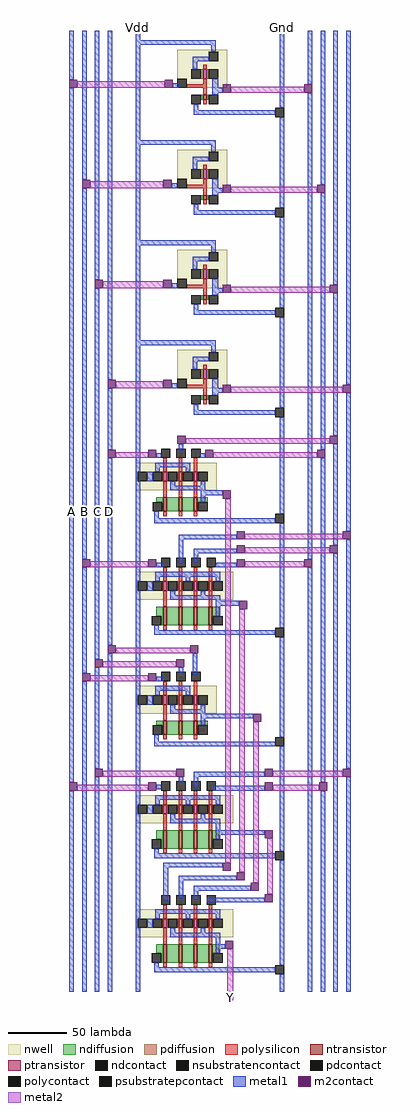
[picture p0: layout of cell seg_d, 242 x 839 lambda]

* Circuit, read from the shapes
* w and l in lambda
.subckt seg_d A B C D Gnd Vdd Y
M1 n1 n2 Gnd Gnd nfet w=16 l=3
M2 n3 A Gnd Gnd nfet w=16 l=3
M3 n4 B Gnd Gnd nfet w=12 l=3
M4 n5 B Gnd Gnd nfet w=16 l=3
M5 n6 D Gnd Gnd nfet w=12 l=3
M6 n7 n8 n1 Gnd nfet w=16 l=3
M7 n9 C n3 Gnd nfet w=16 l=3
M8 n10 C n4 Gnd nfet w=12 l=3
M9 n11 n12 n5 Gnd nfet w=16 l=3
M10 n13 n14 n6 Gnd nfet w=12 l=3
M11 n15 n16 n7 Gnd nfet w=16 l=3
M12 n17 n12 n9 Gnd nfet w=16 l=3
M13 n16 D n10 Gnd nfet w=12 l=3
M14 n18 n14 n11 Gnd nfet w=16 l=3
M15 n2 n19 n13 Gnd nfet w=12 l=3
M16 n12 D Gnd Gnd nfet w=4 l=3
M17 n14 C Gnd Gnd nfet w=4 l=3
M18 n19 B Gnd Gnd nfet w=4 l=3
M19 n20 A Gnd Gnd nfet w=4 l=3
M20 Y n21 n15 Gnd nfet w=16 l=3
M21 n21 n19 n17 Gnd nfet w=16 l=3
M22 n8 n20 n18 Gnd nfet w=16 l=3
M23 Y n2 Vdd Vdd pfet w=8 l=3
M24 n21 A Vdd Vdd pfet w=8 l=3
M25 n16 B Vdd Vdd pfet w=8 l=3
M26 n8 B Vdd Vdd pfet w=8 l=3
M27 n2 D Vdd Vdd pfet w=8 l=3
M28 Vdd n8 Y Vdd pfet w=8 l=3
M29 Vdd C n21 Vdd pfet w=8 l=3
M30 Vdd C n16 Vdd pfet w=8 l=3
M31 Vdd n12 n8 Vdd pfet w=8 l=3
M32 Vdd n14 n2 Vdd pfet w=8 l=3
M33 Y n16 Vdd Vdd pfet w=8 l=3
M34 n21 n12 Vdd Vdd pfet w=8 l=3
M35 n16 D Vdd Vdd pfet w=8 l=3
M36 n8 n14 Vdd Vdd pfet w=8 l=3
M37 n2 n19 Vdd Vdd pfet w=8 l=3
M38 n12 D Vdd Vdd pfet w=8 l=3
M39 n14 C Vdd Vdd pfet w=8 l=3
M40 n19 B Vdd Vdd pfet w=8 l=3
M41 n20 A Vdd Vdd pfet w=8 l=3
M42 Vdd n21 Y Vdd pfet w=8 l=3
M43 Vdd n19 n21 Vdd pfet w=8 l=3
M44 Vdd n20 n8 Vdd pfet w=8 l=3
.ends

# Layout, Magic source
magic
tech tsmc
<< metal1 >>
rect 0 86 4 92
rect 124 86 128 92
rect -57 44 -53 86
rect -57 -560 -53 37
rect -46 -42 -42 86
rect -46 -368 -42 -49
rect -35 -128 -31 86
rect -46 -466 -42 -375
rect -35 -454 -31 -135
rect -24 -214 -20 86
rect 32 37 37 41
rect 148 40 152 86
rect 68 33 75 37
rect 31 -49 36 -45
rect 66 -53 75 -49
rect 31 -135 36 -131
rect 66 -139 75 -135
rect 31 -221 36 -217
rect -24 -274 -20 -221
rect 66 -225 75 -221
rect 37 -275 41 -269
rect 18 -281 22 -277
rect 55 -281 60 -277
rect -24 -442 -20 -281
rect 59 -313 75 -309
rect 37 -351 87 -347
rect 18 -375 24 -371
rect 37 -372 41 -351
rect 50 -363 87 -359
rect 50 -371 54 -363
rect 148 -368 152 33
rect 159 -46 163 86
rect 159 -274 163 -53
rect 170 -132 174 86
rect 170 -262 174 -139
rect 181 -218 185 86
rect 69 -375 87 -371
rect 72 -408 89 -404
rect -57 -740 -53 -567
rect -46 -740 -42 -473
rect -35 -548 -31 -461
rect -35 -740 -31 -555
rect -24 -740 -20 -449
rect 37 -466 41 -461
rect 49 -468 53 -449
rect 18 -473 24 -469
rect 60 -505 101 -501
rect 50 -555 111 -551
rect 37 -560 41 -555
rect 18 -566 22 -562
rect 50 -565 54 -555
rect 67 -567 111 -563
rect 73 -605 111 -601
rect 24 -633 75 -629
rect 24 -662 28 -633
rect 37 -644 87 -640
rect 37 -660 41 -644
rect 50 -653 99 -649
rect 50 -661 54 -653
rect 61 -663 111 -659
rect 69 -703 77 -699
rect 148 -740 152 -375
rect 159 -560 163 -281
rect 170 -356 174 -269
rect 181 -344 185 -225
rect 159 -740 163 -567
rect 170 -740 174 -363
rect 181 -548 185 -351
rect 181 -740 185 -555
<< m2contact >>
rect -57 37 -50 44
rect -46 -49 -39 -42
rect -35 -135 -28 -128
rect -46 -375 -39 -368
rect 25 37 32 44
rect 75 33 82 40
rect 145 33 152 40
rect 24 -49 31 -42
rect 75 -53 82 -46
rect 24 -135 31 -128
rect 75 -139 82 -132
rect -24 -221 -17 -214
rect 24 -221 31 -214
rect 75 -225 82 -218
rect 36 -269 43 -262
rect -24 -281 -17 -274
rect 11 -281 18 -274
rect 60 -281 67 -274
rect 75 -316 82 -309
rect 87 -351 94 -344
rect 11 -375 18 -368
rect 87 -363 94 -356
rect 156 -53 163 -46
rect 167 -139 174 -132
rect 178 -225 185 -218
rect 167 -269 174 -262
rect 156 -281 163 -274
rect 87 -375 94 -368
rect 145 -375 152 -368
rect 89 -411 96 -404
rect -24 -449 -17 -442
rect 47 -449 54 -442
rect -35 -461 -28 -454
rect -46 -473 -39 -466
rect -57 -567 -50 -560
rect -35 -555 -28 -548
rect 35 -461 42 -454
rect 11 -473 18 -466
rect 101 -508 108 -501
rect 35 -555 42 -548
rect 111 -555 118 -548
rect 11 -567 18 -560
rect 111 -567 118 -560
rect 111 -608 118 -601
rect 75 -636 82 -629
rect 87 -644 94 -637
rect 99 -653 106 -646
rect 111 -663 118 -656
rect 77 -703 84 -696
rect 178 -351 185 -344
rect 167 -363 174 -356
rect 158 -567 165 -560
rect 178 -555 185 -548
<< metal2 >>
rect -50 37 25 43
rect 82 33 145 38
rect -39 -49 24 -43
rect 82 -53 156 -48
rect -28 -135 24 -129
rect 82 -139 167 -134
rect -17 -221 24 -215
rect 82 -225 178 -220
rect 43 -269 167 -264
rect -17 -281 11 -276
rect 67 -281 156 -276
rect -39 -375 11 -370
rect -17 -449 47 -444
rect -28 -461 35 -456
rect -39 -473 11 -468
rect -28 -555 35 -550
rect -50 -567 11 -562
rect 77 -629 82 -316
rect 94 -351 178 -346
rect 94 -363 167 -358
rect 94 -375 145 -370
rect 89 -637 94 -411
rect 101 -646 106 -508
rect 118 -555 178 -550
rect 118 -567 158 -562
rect 113 -656 118 -608
rect 79 -747 84 -703
use 1INV  1INV_0
transform 1 0 49 0 1 20
box -49 -20 79 66
use 1INV  1INV_1
transform 1 0 49 0 1 -66
box -49 -20 79 66
use 1INV  1INV_2
transform 1 0 49 0 1 -152
box -49 -20 79 66
use 1INV  1INV_3
transform 1 0 49 0 1 -238
box -49 -20 79 66
use 3NAND  3NAND_0
transform 1 0 18 0 1 -301
box -18 -51 110 43
use 4NAND  4NAND_0
transform 1 0 18 0 1 -395
box -18 -55 110 43
use 3NAND  3NAND_1
transform 1 0 18 0 1 -493
box -18 -51 110 43
use 4NAND  4NAND_1
transform 1 0 18 0 1 -587
box -18 -55 110 43
use 4NAND  4NAND_2
transform 1 0 18 0 1 -685
box -18 -55 110 43
<< labels >>
rlabel metal1 -57 -740 -53 86 3 A
rlabel metal1 -46 -740 -42 86 1 B
rlabel metal1 -35 -740 -31 86 1 C
rlabel metal1 -24 -740 -20 86 1 D
rlabel metal1 0 86 4 92 5 Vdd
rlabel metal1 124 86 128 92 5 Gnd
rlabel metal2 79 -747 84 -742 1 Y
<< end >>

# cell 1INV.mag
magic
tech tsmc
<< nwell >>
rect -13 17 30 50
<< ntransistor >>
rect 9 7 12 11
<< ptransistor >>
rect 9 25 12 33
<< ndiffusion >>
rect 7 7 9 11
rect 12 7 14 11
<< pdiffusion >>
rect 7 25 9 33
rect 12 25 14 33
<< ndcontact >>
rect -1 3 7 11
rect 14 3 22 11
<< pdcontact >>
rect -1 25 7 33
rect 14 25 22 33
<< psubstratepcontact >>
rect 71 -8 79 0
<< nsubstratencontact >>
rect 14 40 22 48
<< polysilicon >>
rect 9 33 12 37
rect 9 20 12 25
rect -5 17 12 20
rect 9 11 12 17
rect 9 3 12 7
<< polycontact >>
rect -13 17 -5 25
<< metal1 >>
rect -49 58 -45 66
rect -49 54 20 58
rect -49 -20 -45 54
rect 16 48 20 54
rect 0 40 14 44
rect 0 33 4 40
rect 17 11 22 25
rect 1 -2 5 3
rect 75 0 79 66
rect 1 -6 71 -2
rect 75 -20 79 -8
<< end >>

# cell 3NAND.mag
magic
tech tsmc
<< nwell >>
rect -18 -8 52 16
<< ntransistor >>
rect 6 -26 9 -14
rect 19 -26 22 -14
rect 32 -26 35 -14
<< ptransistor >>
rect 6 0 9 8
rect 19 0 22 8
rect 32 0 35 8
<< ndiffusion >>
rect 0 -18 6 -14
rect 5 -26 6 -18
rect 9 -26 19 -14
rect 22 -26 32 -14
rect 35 -18 44 -14
rect 35 -26 36 -18
<< pdiffusion >>
rect 5 0 6 8
rect 9 0 10 8
rect 18 0 19 8
rect 22 0 23 8
rect 31 0 32 8
rect 35 0 36 8
<< ndcontact >>
rect -3 -26 5 -18
rect 36 -26 44 -18
<< pdcontact >>
rect -3 0 5 8
rect 10 0 18 8
rect 23 0 31 8
rect 36 0 44 8
<< psubstratepcontact >>
rect 102 -36 110 -28
<< nsubstratencontact >>
rect -16 0 -8 8
<< polysilicon >>
rect 6 8 9 20
rect 19 8 22 20
rect 32 8 35 20
rect 6 -14 9 0
rect 19 -14 22 0
rect 32 -14 35 0
rect 6 -30 9 -26
rect 19 -30 22 -26
rect 32 -30 35 -26
<< polycontact >>
rect 4 20 12 28
rect 17 20 25 28
rect 30 20 38 28
<< metal1 >>
rect -18 8 -14 43
rect -1 12 29 16
rect -1 8 3 12
rect 25 8 29 12
rect -18 0 -16 8
rect -8 0 -3 8
rect -18 -51 -14 0
rect 12 -4 16 0
rect 38 -4 42 0
rect 12 -8 42 -4
rect 38 -18 42 -8
rect -2 -32 2 -26
rect 106 -28 110 43
rect -2 -36 102 -32
rect 106 -51 110 -36
<< end >>

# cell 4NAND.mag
magic
tech tsmc
<< nwell >>
rect -18 -8 66 16
<< ntransistor >>
rect 6 -30 9 -14
rect 19 -30 22 -14
rect 32 -30 35 -14
rect 45 -30 48 -14
<< ptransistor >>
rect 6 0 9 8
rect 19 0 22 8
rect 32 0 35 8
rect 45 0 48 8
<< ndiffusion >>
rect 0 -22 6 -14
rect 4 -30 6 -22
rect 9 -30 19 -14
rect 22 -30 32 -14
rect 35 -30 45 -14
rect 48 -22 54 -14
rect 48 -30 49 -22
<< pdiffusion >>
rect 5 0 6 8
rect 9 0 10 8
rect 18 0 19 8
rect 22 0 23 8
rect 31 0 32 8
rect 35 0 36 8
rect 44 0 45 8
rect 48 0 49 8
<< ndcontact >>
rect -4 -30 4 -22
rect 49 -30 57 -22
<< pdcontact >>
rect -3 0 5 8
rect 10 0 18 8
rect 23 0 31 8
rect 36 0 44 8
rect 49 0 57 8
<< psubstratepcontact >>
rect 102 -40 110 -32
<< nsubstratencontact >>
rect -16 0 -8 8
<< polysilicon >>
rect 6 8 9 20
rect 19 8 22 20
rect 32 8 35 20
rect 45 8 48 20
rect 6 -14 9 0
rect 19 -14 22 0
rect 32 -14 35 0
rect 45 -14 48 0
rect 6 -34 9 -30
rect 19 -34 22 -30
rect 32 -34 35 -30
rect 45 -34 48 -30
<< polycontact >>
rect 4 20 12 28
rect 17 20 25 28
rect 30 20 38 28
rect 43 20 51 28
<< metal1 >>
rect -18 8 -14 43
rect -1 12 55 16
rect -1 8 3 12
rect 25 8 29 12
rect 51 8 55 12
rect -18 0 -16 8
rect -8 0 -3 8
rect -18 -55 -14 0
rect 12 -4 16 0
rect 38 -4 42 0
rect 12 -8 55 -4
rect 51 -22 55 -8
rect -2 -34 2 -30
rect 106 -32 110 43
rect -2 -38 102 -34
rect 106 -55 110 -40
<< end >>
